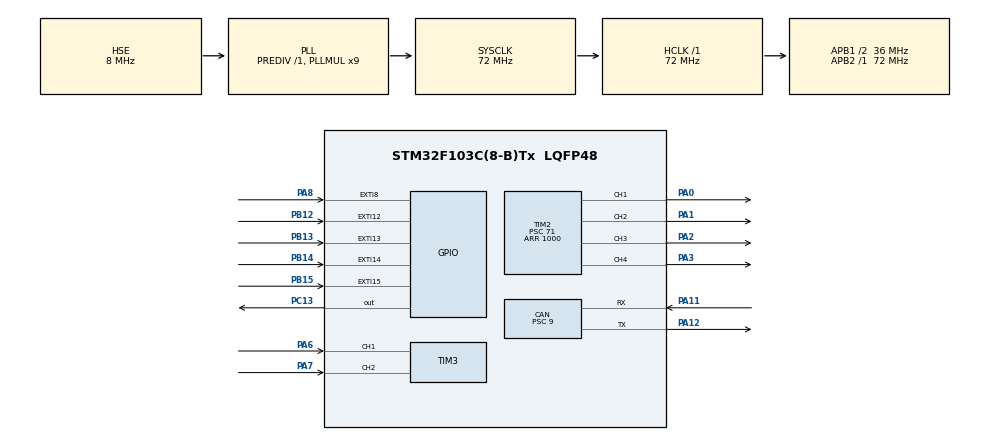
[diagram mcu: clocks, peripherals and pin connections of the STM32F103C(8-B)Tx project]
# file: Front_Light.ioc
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CAN.BS1=CAN_BS1_11TQ
CAN.BS2=CAN_BS2_4TQ
CAN.CalculateBaudRate=250000
CAN.CalculateTimeBit=4000
CAN.CalculateTimeQuantum=250.0
CAN.Prescaler=9
CAN.SJW=CAN_SJW_4TQ
Mcu.Family=STM32F1
Mcu.Name=STM32F103C(8-B)Tx
Mcu.Package=LQFP48
NVIC.EXTI15_10_IRQn=true\:0\:0\:false\:false\:true\:true\:true\:true
NVIC.EXTI9_5_IRQn=true\:0\:0\:false\:false\:true\:true\:true\:true
NVIC.PriorityGroup=NVIC_PRIORITYGROUP_4
NVIC.USB_LP_CAN1_RX0_IRQn=true\:0\:0\:false\:false\:true\:true\:true\:true
PA0-WKUP.Signal=S_TIM2_CH1_ETR
PA1.Signal=S_TIM2_CH2
PA11.Mode=CAN_Activate
PA11.Signal=CAN_RX
PA12.Mode=CAN_Activate
PA12.Signal=CAN_TX
PA13.Mode=Serial_Wire
PA13.Signal=SYS_JTMS-SWDIO
PA14.Mode=Serial_Wire
PA14.Signal=SYS_JTCK-SWCLK
PA2.Signal=S_TIM2_CH3
PA3.Signal=S_TIM2_CH4
PA6.GPIO_PuPd=GPIO_PULLUP
PA6.Signal=S_TIM3_CH1
PA7.GPIO_PuPd=GPIO_PULLUP
PA7.Signal=S_TIM3_CH2
PA8.GPIO_ModeDefaultEXTI=GPIO_MODE_IT_FALLING
PA8.GPIO_PuPd=GPIO_PULLUP
PA8.Signal=GPXTI8
PB12.GPIO_ModeDefaultEXTI=GPIO_MODE_IT_FALLING
PB12.GPIO_PuPd=GPIO_PULLUP
PB12.Signal=GPXTI12
PB13.GPIO_ModeDefaultEXTI=GPIO_MODE_IT_FALLING
PB13.GPIO_PuPd=GPIO_PULLUP
PB13.Signal=GPXTI13
PB14.GPIO_ModeDefaultEXTI=GPIO_MODE_IT_FALLING
PB14.GPIO_PuPd=GPIO_PULLUP
PB14.Signal=GPXTI14
PB15.GPIO_ModeDefaultEXTI=GPIO_MODE_IT_FALLING
PB15.GPIO_PuPd=GPIO_PULLUP
PB15.Signal=GPXTI15
PC13-TAMPER-RTC.GPIO_ModeDefaultOutputPP=GPIO_MODE_OUTPUT_OD
PC13-TAMPER-RTC.GPIO_PuPd=GPIO_PULLUP
PC13-TAMPER-RTC.PinState=GPIO_PIN_SET
PC13-TAMPER-RTC.Signal=GPIO_Output
PD0-OSC_IN.Mode=HSE-External-Oscillator
PD0-OSC_IN.Signal=RCC_OSC_IN
PD1-OSC_OUT.Mode=HSE-External-Oscillator
PD1-OSC_OUT.Signal=RCC_OSC_OUT
ProjectManager.HeapSize=0x200
ProjectManager.StackSize=0x400
ProjectManager.TargetToolchain=CMake
RCC.AHBFreq_Value=72000000
RCC.APB1CLKDivider=RCC_HCLK_DIV2
RCC.APB1Freq_Value=36000000
RCC.APB1TimFreq_Value=72000000
RCC.APB2Freq_Value=72000000
RCC.APB2TimFreq_Value=72000000
RCC.HCLKFreq_Value=72000000
RCC.PLLMUL=RCC_PLL_MUL9
RCC.PLLSourceVirtual=RCC_PLLSOURCE_HSE
RCC.SYSCLKFreq_VALUE=72000000
RCC.SYSCLKSource=RCC_SYSCLKSOURCE_PLLCLK
RCC.USBFreq_Value=72000000
SH.S_TIM2_CH1_ETR.0=TIM2_CH1,PWM Generation1 CH1
SH.S_TIM2_CH2.0=TIM2_CH2,PWM Generation2 CH2
SH.S_TIM2_CH3.0=TIM2_CH3,PWM Generation3 CH3
SH.S_TIM2_CH4.0=TIM2_CH4,PWM Generation4 CH4
SH.S_TIM3_CH1.0=TIM3_CH1,Encoder_Interface
SH.S_TIM3_CH2.0=TIM3_CH2,Encoder_Interface
TIM2.AutoReloadPreload=TIM_AUTORELOAD_PRELOAD_ENABLE
TIM2.Channel-PWM\ Generation1\ CH1=TIM_CHANNEL_1
TIM2.Channel-PWM\ Generation2\ CH2=TIM_CHANNEL_2
TIM2.Channel-PWM\ Generation3\ CH3=TIM_CHANNEL_3
TIM2.Channel-PWM\ Generation4\ CH4=TIM_CHANNEL_4
TIM2.Period=1000
TIM2.Prescaler=71
TIM3.AutoReloadPreload=TIM_AUTORELOAD_PRELOAD_ENABLE
VP_TIM2_VS_ClockSourceINT.Mode=Internal
board=custom

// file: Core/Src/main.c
/* USER CODE BEGIN Header */
/**
  ******************************************************************************
  * @file           : main.c
  * @brief          : Main program body
  ******************************************************************************
  * @attention
  *
  * Copyright (c) 2026 STMicroelectronics.
  * All rights reserved.
  *
  * This software is licensed under terms that can be found in the LICENSE file
  * in the root directory of this software component.
  * If no LICENSE file comes with this software, it is provided AS-IS.
  *
  ******************************************************************************
  */
/* USER CODE END Header */
#include "main.h"

/* USER CODE BEGIN Includes */
#include "bsp_can.h"
#include "bsp_key.h"
#include "bsp_light.h"
#include "bsp_encoder.h"
#include "bsp_can_error.h"
#include "bsp_nm.h"
#include "bsp_uds.h"
#include "OLED.h"
#include "stm32f103xb.h"
#include "stm32f1xx_hal_can.h"
#include "stm32f1xx_hal_gpio.h"
#include "stm32f1xx_hal_tim.h"
#include <stdint.h>
/* USER CODE END Includes */

CAN_HandleTypeDef hcan;

TIM_HandleTypeDef htim2;
TIM_HandleTypeDef htim3;

void SystemClock_Config(void);
static void MX_GPIO_Init(void);
static void MX_CAN_Init(void);
static void MX_TIM2_Init(void);
static void MX_TIM3_Init(void);

/* USER CODE BEGIN 0 */

uint8_t txMsgId2 = 0;
uint8_t txMsgId3 = 0;
uint8_t txMsgId5 = 0;
uint8_t key1count = 0;

CAN_RxHeaderTypeDef RxHeader;
uint8_t RxData[8];

uint8_t last_close = 0;
int32_t lastangle = 0;
int32_t recangle = 0;

extern LightState currentLightState;
/* USER CODE END 0 */

int main(void)
{

  /* MCU Configuration--------------------------------------------------------*/

  /* Reset of all peripherals, Initializes the Flash interface and the Systick. */
  HAL_Init();

  /* Configure the system clock */
  SystemClock_Config();

  /* Initialize all configured peripherals */
  MX_GPIO_Init();
  MX_CAN_Init();
  MX_TIM2_Init();
  MX_TIM3_Init();
  /* USER CODE BEGIN 2 */
  OLED_Init();
  Bsp_Can_Init();
  Bsp_Light_Init();
  Bsp_Encoder_Init();
  Bsp_CanError_Init();
  Bsp_Nm_Init();
  Bsp_Uds_Init();

  OLED_ShowString(1, 1, "Indicator:");
  OLED_ShowString(2, 1, "Dir:");
  OLED_ShowString(3, 1, "CAN:OK  ");
  OLED_ShowString(4, 1, "NM:ON   ");
  /* USER CODE END 2 */

  /* Infinite loop */
  while (1)
  {

    /* USER CODE BEGIN 3 */
    static uint32_t lastCanErrCheck = 0;
    static uint32_t lastDispUpdate = 0;
    uint32_t now = HAL_GetTick();

    int32_t angle = Bsp_Encoder_GetCount();

    Bsp_AFS_Update(recangle);

    Bsp_Light_Update();

    Bsp_Uds_SelfTest_Update();
    Bsp_Uds_SessionTimer_Check();

    if (now - lastCanErrCheck >= 100) {
      lastCanErrCheck = now;
      Bsp_CanError_Check();
    }

    Bsp_Nm_Update();

    if (now - lastDispUpdate >= 500) {
      lastDispUpdate = now;
      switch (Bsp_CanError_GetState()) {
        case CAN_STATE_ACTIVE:  OLED_ShowString(3, 1, "CAN:OK  "); break;
        case CAN_STATE_WARNING: OLED_ShowString(3, 1, "CAN:WARN"); break;
        case CAN_STATE_PASSIVE: OLED_ShowString(3, 1, "CAN:PASS"); break;
        default:                OLED_ShowString(3, 1, "CAN:BOFF"); break;
      }
      if (Bsp_Nm_PeerOnline()) {
        OLED_ShowString(4, 1, "NM:ON   ");
      } else {
        OLED_ShowString(4, 1, "NM:LOST ");
      }
    }

    if(angle == 0)
    {
      OLED_ShowString(2, 5, "C");
      OLED_ShowNum(2, 6, angle, 3);
      if(currentLightState == LOW_BEAM_ON && angle != lastangle)
      {
        uint8_t d[4];
        d[0] = (angle >> 24) & 0xFF;
        d[1] = (angle >> 16) & 0xFF;
        d[2] = (angle >> 8)  & 0xFF;
        d[3] = angle         & 0xFF;
        Bsp_Can_SendSecure(CAN_ID_AFS_ANGLE, d, 4);
        lastangle = angle;
      }
    }
    else if(angle > 0)
    {
      OLED_ShowString(2, 5, "L");
      OLED_ShowNum(2, 6, angle, 3);
      if(currentLightState == LOW_BEAM_ON && angle != lastangle)
      {
        uint8_t d[4];
        d[0] = (angle >> 24) & 0xFF;
        d[1] = (angle >> 16) & 0xFF;
        d[2] = (angle >> 8)  & 0xFF;
        d[3] = angle         & 0xFF;
        Bsp_Can_SendSecure(CAN_ID_AFS_ANGLE, d, 4);
        lastangle = angle;
      }
    }
    else if (angle < 0)
    {
      OLED_ShowString(2, 5, "R");
      OLED_ShowNum(2, 6, -angle, 3);
      if(currentLightState == LOW_BEAM_ON && angle != lastangle)
      {
        uint8_t d[4];
        d[0] = (angle >> 24) & 0xFF;
        d[1] = (angle >> 16) & 0xFF;
        d[2] = (angle >> 8)  & 0xFF;
        d[3] = angle         & 0xFF;
        Bsp_Can_SendSecure(CAN_ID_AFS_ANGLE, d, 4);
        lastangle = angle;
      }
    }

    if (KeyNum != 0) {
      if (KeyNum == 1)     // PB12 - 近光/远光/关闭循环
      {
        uint8_t cmd;
        uint16_t id;
        if (key1count == 0) { cmd = 0x10; id = CAN_ID_LOW_BEAM_ON; }
        else if (key1count == 1) { cmd = 0x20; id = CAN_ID_HIGH_BEAM_ON; }
        else { cmd = 0x11; id = CAN_ID_LOW_BEAM_OFF; }
        Bsp_Can_SendSecure(id, &cmd, 1);

        if(key1count == 0)
        {
          OLED_ShowString(1, 11, "   ");
          OLED_ShowString(1, 11, "LB");
          Bsp_Light_LowBeam_On();
        }
        else if(key1count == 1)
        {
          OLED_ShowString(1, 11, "   ");
          OLED_ShowString(1, 11, "HB");
          Bsp_Light_HighBeam_On();
        }
        else if(key1count == 2)
        {
          OLED_ShowString(1, 11, "   ");
          OLED_ShowString(1, 11, "OFF");
          Bsp_Light_LowBeam_Off();
        }

        key1count++;
        if (key1count >= 3) key1count = 0;
      }
      else if (KeyNum == 2)   // PB13 - 左转向灯
      {
        uint8_t cmd = (txMsgId2 == 0) ? 0x30 : 0x31;
        uint16_t id = (txMsgId2 == 0) ? CAN_ID_LEFT_TURN_ON : CAN_ID_LEFT_TURN_OFF;
        Bsp_Can_SendSecure(id, &cmd, 1);
        if(txMsgId2 == 0)
        {
          OLED_ShowString(1, 11, "   ");
          OLED_ShowString(1, 11, "TL");
          Bsp_Light_LeftTurn_On();
        }
        else
        {
          OLED_ShowString(1, 11, "OFF");
          Bsp_Light_LeftTurn_Off();
          last_close = 1;
        }
        txMsgId2++;
        if (txMsgId2 > 1) txMsgId2 = 0;
      }
      else if (KeyNum == 3)   // PB14 - 右转向灯
      {
        uint8_t cmd = (txMsgId3 == 0) ? 0x40 : 0x41;
        uint16_t id = (txMsgId3 == 0) ? CAN_ID_RIGHT_TURN_ON : CAN_ID_RIGHT_TURN_OFF;
        Bsp_Can_SendSecure(id, &cmd, 1);
        if(txMsgId3 == 0)
        {
          OLED_ShowString(1, 11, "   ");
          OLED_ShowString(1, 11, "TR");
          Bsp_Light_RightTurn_On();
        }
        else
        {
          OLED_ShowString(1, 11, "OFF");
          Bsp_Light_RightTurn_Off();
          last_close = 1;
        }
        txMsgId3++;
        if (txMsgId3 > 1) txMsgId3 = 0;
      }
      else if (KeyNum == 4)   // PB15 - 双闪(危险警示灯)
      {
        uint8_t cmd = (txMsgId5 == 0) ? 0x50 : 0x51;
        uint16_t id = (txMsgId5 == 0) ? CAN_ID_HAZARD_ON : CAN_ID_HAZARD_OFF;
        Bsp_Can_SendSecure(id, &cmd, 1);
        if(txMsgId5 == 0)
        {
          OLED_ShowString(1, 11, "   ");
          OLED_ShowString(1, 11, "HAZ");
          Bsp_Light_Hazard_On();
        }
        else
        {
          OLED_ShowString(1, 11, "OFF");
          Bsp_Light_Hazard_Off();
          last_close = 1;
        }
        txMsgId5++;
        if (txMsgId5 > 1) txMsgId5 = 0;
      }

      KeyNum = 0;
    }

    if (Bsp_Can_ReceiveFlag())
    {
      CanRxStatus rxSt = Bsp_Can_Receive(&RxHeader, RxData);
      if (rxSt == CAN_RX_OK || rxSt == CAN_RX_CC_ERROR)
      {
        if (RxHeader.StdId == UDS_REQ_ID) {
          Bsp_Uds_TpFeed(RxData, RxHeader.DLC);
        }
        else if (RxHeader.StdId == CAN_ID_NM_HEARTBEAT) {
          Bsp_Nm_OnHeartbeat(RxData);
        }
        else if(RxHeader.StdId == 0x100)
      {
        if (RxHeader.DLC == CAN_SECURE_LEN)
        {
          if (RxData[0] == 0x10)
          {
            Bsp_Light_LowBeam_On();
          }
        }
      }
      else if(RxHeader.StdId == 0x101)
      {
        if (RxHeader.DLC == CAN_SECURE_LEN)
        {
          if (RxData[0] == 0x11)
          {
            Bsp_Light_LowBeam_Off();
          }
        }
      }
      else if(RxHeader.StdId == 0x200)
      {
        if (RxHeader.DLC == CAN_SECURE_LEN)
        {
          if (RxData[0] == 0x20)
          {
            Bsp_Light_HighBeam_On();
          }
        }
      }
      else if(RxHeader.StdId == 0x201)
      {
        if (RxHeader.DLC == CAN_SECURE_LEN)
        {
          if (RxData[0] == 0x21)
          {
            Bsp_Light_HighBeam_Off();
          }
        }
      }
      else if(RxHeader.StdId == 0x300)
      {
        if (RxHeader.DLC == CAN_SECURE_LEN)
        {
          if (RxData[0] == 0x30)
          {
            Bsp_Light_LeftTurn_On();
          }
        }
      }
      else if(RxHeader.StdId == 0x301)
      {
        if (RxHeader.DLC == CAN_SECURE_LEN)
        {
          if (RxData[0] == 0x31)
          {
            Bsp_Light_LeftTurn_Off();
            last_close = 1;
          }
        }
      }
      else if(RxHeader.StdId == 0x400)
      {
        if (RxHeader.DLC == CAN_SECURE_LEN)
        {
          if (RxData[0] == 0x40)
          {
            Bsp_Light_RightTurn_On();
          }
        }
      }
      else if(RxHeader.StdId == 0x401)
      {
        if (RxHeader.DLC == CAN_SECURE_LEN)
        {
          if (RxData[0] == 0x41)
          {
            Bsp_Light_RightTurn_Off();
            last_close = 1;
          }
        }
      }
      else if(RxHeader.StdId == 0x500)
      {
        if (RxHeader.DLC == CAN_SECURE_LEN)
        {
          if (RxData[0] == 0x50)
          {
            Bsp_Light_Hazard_On();
          }
        }
      }
      else if(RxHeader.StdId == 0x501)
      {
        if (RxHeader.DLC == CAN_SECURE_LEN)
        {
          if (RxData[0] == 0x51)
          {
            Bsp_Light_Hazard_Off();
            last_close = 1;
          }
        }
      }
      else if (RxHeader.StdId == 0x600)
        {
          if (RxHeader.DLC == CAN_SECURE_LEN)
          {
            recangle = (int32_t)(
            ((uint32_t)RxData[0] << 24) |
            ((uint32_t)RxData[1] << 16) |
            ((uint32_t)RxData[2] << 8)  |
            (uint32_t)RxData[3]
            );
          }
        }
      }
    }
  }
  /* USER CODE END 3 */
}

void SystemClock_Config(void)
{
  RCC_OscInitTypeDef RCC_OscInitStruct = {0};
  RCC_ClkInitTypeDef RCC_ClkInitStruct = {0};

  /** Initializes the RCC Oscillators according to the specified parameters
  * in the RCC_OscInitTypeDef structure.
  */
  RCC_OscInitStruct.OscillatorType = RCC_OSCILLATORTYPE_HSE;
  RCC_OscInitStruct.HSEState = RCC_HSE_ON;
  RCC_OscInitStruct.HSEPredivValue = RCC_HSE_PREDIV_DIV1;
  RCC_OscInitStruct.HSIState = RCC_HSI_ON;
  RCC_OscInitStruct.PLL.PLLState = RCC_PLL_ON;
  RCC_OscInitStruct.PLL.PLLSource = RCC_PLLSOURCE_HSE;
  RCC_OscInitStruct.PLL.PLLMUL = RCC_PLL_MUL9;
  if (HAL_RCC_OscConfig(&RCC_OscInitStruct) != HAL_OK)
  {
    Error_Handler();
  }

  /** Initializes the CPU, AHB and APB buses clocks
  */
  RCC_ClkInitStruct.ClockType = RCC_CLOCKTYPE_HCLK|RCC_CLOCKTYPE_SYSCLK
                              |RCC_CLOCKTYPE_PCLK1|RCC_CLOCKTYPE_PCLK2;
  RCC_ClkInitStruct.SYSCLKSource = RCC_SYSCLKSOURCE_PLLCLK;
  RCC_ClkInitStruct.AHBCLKDivider = RCC_SYSCLK_DIV1;
  RCC_ClkInitStruct.APB1CLKDivider = RCC_HCLK_DIV2;
  RCC_ClkInitStruct.APB2CLKDivider = RCC_HCLK_DIV1;

  if (HAL_RCC_ClockConfig(&RCC_ClkInitStruct, FLASH_LATENCY_2) != HAL_OK)
  {
    Error_Handler();
  }
}

static void MX_CAN_Init(void)
{

  hcan.Instance = CAN1;
  hcan.Init.Prescaler = 9;
  hcan.Init.Mode = CAN_MODE_NORMAL;
  hcan.Init.SyncJumpWidth = CAN_SJW_4TQ;
  hcan.Init.TimeSeg1 = CAN_BS1_11TQ;
  hcan.Init.TimeSeg2 = CAN_BS2_4TQ;
  hcan.Init.TimeTriggeredMode = DISABLE;
  hcan.Init.AutoBusOff = DISABLE;
  hcan.Init.AutoWakeUp = DISABLE;
  hcan.Init.AutoRetransmission = DISABLE;
  hcan.Init.ReceiveFifoLocked = DISABLE;
  hcan.Init.TransmitFifoPriority = DISABLE;
  if (HAL_CAN_Init(&hcan) != HAL_OK)
  {
    Error_Handler();
  }

}

static void MX_TIM2_Init(void)
{

  TIM_ClockConfigTypeDef sClockSourceConfig = {0};
  TIM_MasterConfigTypeDef sMasterConfig = {0};
  TIM_OC_InitTypeDef sConfigOC = {0};

  htim2.Instance = TIM2;
  htim2.Init.Prescaler = 71;
  htim2.Init.CounterMode = TIM_COUNTERMODE_UP;
  htim2.Init.Period = 1000;
  htim2.Init.ClockDivision = TIM_CLOCKDIVISION_DIV1;
  htim2.Init.AutoReloadPreload = TIM_AUTORELOAD_PRELOAD_ENABLE;
  if (HAL_TIM_Base_Init(&htim2) != HAL_OK)
  {
    Error_Handler();
  }
  sClockSourceConfig.ClockSource = TIM_CLOCKSOURCE_INTERNAL;
  if (HAL_TIM_ConfigClockSource(&htim2, &sClockSourceConfig) != HAL_OK)
  {
    Error_Handler();
  }
  if (HAL_TIM_PWM_Init(&htim2) != HAL_OK)
  {
    Error_Handler();
  }
  sMasterConfig.MasterOutputTrigger = TIM_TRGO_RESET;
  sMasterConfig.MasterSlaveMode = TIM_MASTERSLAVEMODE_DISABLE;
  if (HAL_TIMEx_MasterConfigSynchronization(&htim2, &sMasterConfig) != HAL_OK)
  {
    Error_Handler();
  }
  sConfigOC.OCMode = TIM_OCMODE_PWM1;
  sConfigOC.Pulse = 0;
  sConfigOC.OCPolarity = TIM_OCPOLARITY_HIGH;
  sConfigOC.OCFastMode = TIM_OCFAST_DISABLE;
  if (HAL_TIM_PWM_ConfigChannel(&htim2, &sConfigOC, TIM_CHANNEL_1) != HAL_OK)
  {
    Error_Handler();
  }
  if (HAL_TIM_PWM_ConfigChannel(&htim2, &sConfigOC, TIM_CHANNEL_2) != HAL_OK)
  {
    Error_Handler();
  }
  if (HAL_TIM_PWM_ConfigChannel(&htim2, &sConfigOC, TIM_CHANNEL_3) != HAL_OK)
  {
    Error_Handler();
  }
  if (HAL_TIM_PWM_ConfigChannel(&htim2, &sConfigOC, TIM_CHANNEL_4) != HAL_OK)
  {
    Error_Handler();
  }
  HAL_TIM_MspPostInit(&htim2);

}

static void MX_TIM3_Init(void)
{

  TIM_Encoder_InitTypeDef sConfig = {0};
  TIM_MasterConfigTypeDef sMasterConfig = {0};

  htim3.Instance = TIM3;
  htim3.Init.Prescaler = 0;
  htim3.Init.CounterMode = TIM_COUNTERMODE_UP;
  htim3.Init.Period = 65535;
  htim3.Init.ClockDivision = TIM_CLOCKDIVISION_DIV1;
  htim3.Init.AutoReloadPreload = TIM_AUTORELOAD_PRELOAD_ENABLE;
  sConfig.EncoderMode = TIM_ENCODERMODE_TI1;
  sConfig.IC1Polarity = TIM_ICPOLARITY_RISING;
  sConfig.IC1Selection = TIM_ICSELECTION_DIRECTTI;
  sConfig.IC1Prescaler = TIM_ICPSC_DIV1;
  sConfig.IC1Filter = 0;
  sConfig.IC2Polarity = TIM_ICPOLARITY_RISING;
  sConfig.IC2Selection = TIM_ICSELECTION_DIRECTTI;
  sConfig.IC2Prescaler = TIM_ICPSC_DIV1;
  sConfig.IC2Filter = 0;
  if (HAL_TIM_Encoder_Init(&htim3, &sConfig) != HAL_OK)
  {
    Error_Handler();
  }
  sMasterConfig.MasterOutputTrigger = TIM_TRGO_RESET;
  sMasterConfig.MasterSlaveMode = TIM_MASTERSLAVEMODE_DISABLE;
  if (HAL_TIMEx_MasterConfigSynchronization(&htim3, &sMasterConfig) != HAL_OK)
  {
    Error_Handler();
  }

}

static void MX_GPIO_Init(void)
{
  GPIO_InitTypeDef GPIO_InitStruct = {0};

  /* GPIO Ports Clock Enable */
  __HAL_RCC_GPIOC_CLK_ENABLE();
  __HAL_RCC_GPIOD_CLK_ENABLE();
  __HAL_RCC_GPIOA_CLK_ENABLE();
  __HAL_RCC_GPIOB_CLK_ENABLE();

  /*Configure GPIO pin Output Level */
  HAL_GPIO_WritePin(GPIOC, GPIO_PIN_13, GPIO_PIN_SET);

  /*Configure GPIO pin : PC13 */
  GPIO_InitStruct.Pin = GPIO_PIN_13;
  GPIO_InitStruct.Mode = GPIO_MODE_OUTPUT_OD;
  GPIO_InitStruct.Pull = GPIO_PULLUP;
  GPIO_InitStruct.Speed = GPIO_SPEED_FREQ_LOW;
  HAL_GPIO_Init(GPIOC, &GPIO_InitStruct);

  /*Configure GPIO pins : PB12 PB13 PB14 PB15 */
  GPIO_InitStruct.Pin = GPIO_PIN_12|GPIO_PIN_13|GPIO_PIN_14|GPIO_PIN_15;
  GPIO_InitStruct.Mode = GPIO_MODE_IT_FALLING;
  GPIO_InitStruct.Pull = GPIO_PULLUP;
  HAL_GPIO_Init(GPIOB, &GPIO_InitStruct);

  /* EXTI interrupt init*/
  HAL_NVIC_SetPriority(EXTI15_10_IRQn, 0, 0);
  HAL_NVIC_EnableIRQ(EXTI15_10_IRQn);

}

void Error_Handler(void)
{
  __disable_irq();
  while (1)
  {
  }
}
